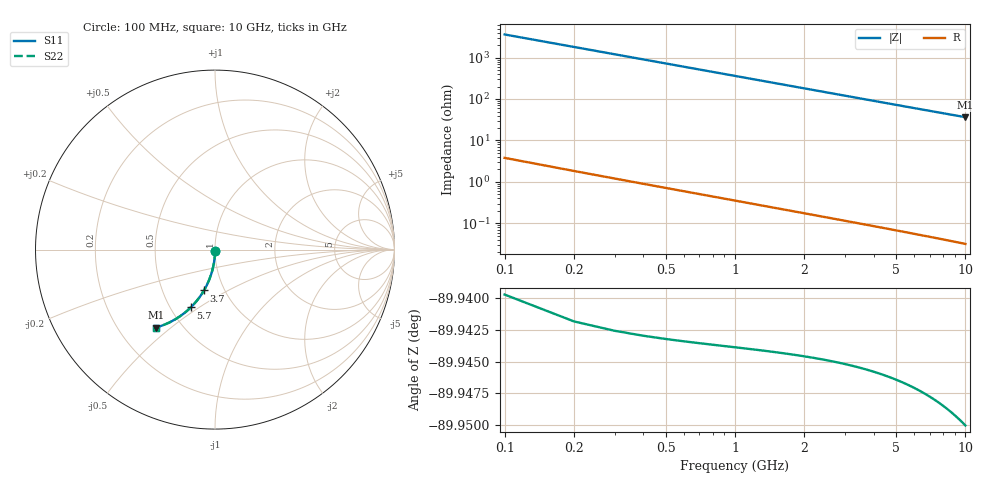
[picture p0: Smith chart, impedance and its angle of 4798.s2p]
# Hz S RI R 50.00
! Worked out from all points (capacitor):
!   100 points, 100 MHz to 10 GHz, reference 50 ohm
!   read as one part in shunt: C = 440 fF near 100 MHz
!   lowest |Z| = 36.5 ohm at 10 GHz (marker M1)
!   S11 on the Smith chart (normalised r, x): 100 MHz: 1.00, -0.01; 3.7 GHz: 0.80, -0.39; 5.7 GHz: 0.63, -0.46; 10 GHz: 0.36, -0.44
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1e8  0.000116 -0.00656  0.9998 -0.00726  0.9998 -0.00726  0.000116 -0.00656
2e8  -3.26e-05 -0.0131  0.9996 -0.0145  0.9996 -0.0145  -3.26e-05 -0.0131
3e8  -0.000277 -0.0197  0.9994 -0.0218  0.9994 -0.0218  -0.000277 -0.0197
4e8  -0.000616 -0.0262  0.999 -0.029  0.999 -0.029  -0.000616 -0.0262
5e8  -0.00105 -0.0328  0.9986 -0.0363  0.9986 -0.0363  -0.00105 -0.0328
6e8  -0.00158 -0.0393  0.9981 -0.0435  0.9981 -0.0435  -0.00158 -0.0393
8e8  -0.00292 -0.0523  0.9967 -0.0579  0.9967 -0.0579  -0.00292 -0.0523
9e8  -0.00373 -0.0588  0.9959 -0.0651  0.9959 -0.0651  -0.00373 -0.0588
1.1e9  -0.00564 -0.0718  0.994 -0.0795  0.994 -0.0795  -0.00564 -0.0718
1.4e9  -0.00918 -0.091  0.9904 -0.1008  0.9904 -0.1008  -0.00918 -0.091
1.8e9  -0.0152 -0.1163  0.9844 -0.1289  0.9844 -0.1289  -0.0152 -0.1163
2.1e9  -0.0206 -0.1349  0.9789 -0.1496  0.9789 -0.1496  -0.0206 -0.1349
2.5e9  -0.029 -0.1592  0.9705 -0.1768  0.9705 -0.1768  -0.029 -0.1592
2.9e9  -0.0387 -0.1828  0.9608 -0.2032  0.9608 -0.2032  -0.0387 -0.1828
3.4e9  -0.0525 -0.2112  0.9469 -0.2351  0.9469 -0.2351  -0.0525 -0.2112
3.7e9  -0.0616 -0.2275  0.9377 -0.2535  0.9377 -0.2535  -0.0616 -0.2275
4.4e9  -0.0851 -0.2636  0.9141 -0.2946  0.9141 -0.2946  -0.0851 -0.2636
5.1e9  -0.1112 -0.2966  0.8877 -0.3325  0.8877 -0.3325  -0.1112 -0.2966
5.7e9  -0.1354 -0.3222  0.8634 -0.3624  0.8634 -0.3624  -0.1354 -0.3222
6.7e9  -0.1783 -0.3592  0.8202 -0.4066  0.8202 -0.4066  -0.1783 -0.3592
8.4e9  -0.2555 -0.4064  0.7424 -0.466  0.7424 -0.466  -0.2555 -0.4064
1e10  -0.3285 -0.4341  0.6685 -0.5053  0.6685 -0.5053  -0.3285 -0.4341
